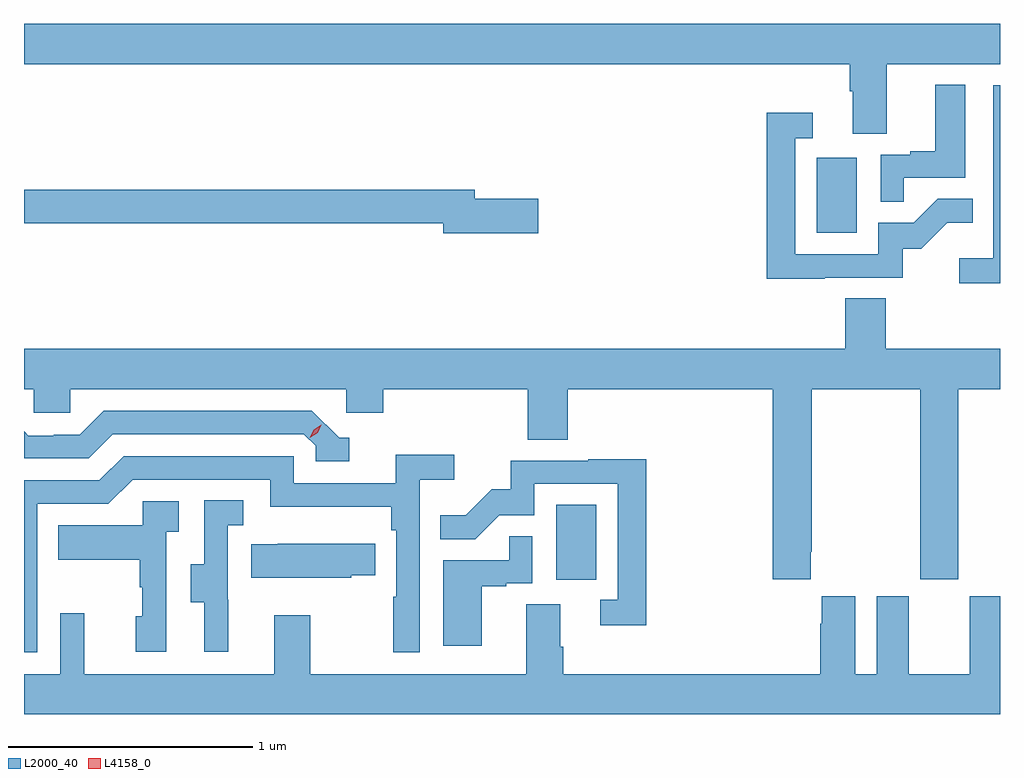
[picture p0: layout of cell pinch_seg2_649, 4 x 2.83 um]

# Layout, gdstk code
import gdstk
lib = gdstk.Library(unit=1e-6, precision=1e-09)
def R(c, l, rs):  # rectangles x0, y0, x1, y1
    for r in rs: c.add(gdstk.rectangle(r[:2], r[2:], *l))
def P(c, l, *ps):  # polygons
    for p in ps: c.add(gdstk.Polygon(p, *l))
L2000_40 = (2000, 40)
L4158_0 = (4158, 0)

pinch_seg2_649 = lib.new_cell('pinch_seg2_649')
R(pinch_seg2_649, L2000_40, [(1035.38,585.582,1035.544,585.889), (1036.448,587.004,1036.612,587.311)])
P(pinch_seg2_649, L2000_40, [(1036.735,587.696),(1037.199,587.696),(1037.199,587.86),(1033.199,587.86),(1033.199,587.696),(1036.583,587.696),(1036.583,587.584),(1036.595,587.584),(1036.595,587.41),(1036.735,587.41)],
  [(1036.805,587.229),(1037.056,587.229),(1037.056,587.611),(1036.934,587.611),(1036.934,587.338),(1036.831,587.338),(1036.831,587.325),(1036.71,587.325),(1036.71,587.131),(1036.805,587.131)],
  [(1037.199,587.608),(1037.172,587.608),(1037.172,586.9),(1037.031,586.9),(1037.031,586.798),(1037.199,586.798)],
  [(1036.481,586.821),(1036.8,586.821),(1036.8,586.938),(1036.876,586.938),(1036.983,587.045),(1037.087,587.045),(1037.087,587.144),(1036.944,587.144),(1036.846,587.046),(1036.701,587.046),(1036.701,586.917),(1036.359,586.917),(1036.359,587.391),(1036.432,587.391),(1036.432,587.497),(1036.243,587.497),(1036.243,586.816),(1036.481,586.816)],
  [(1035.307,587.144),(1035.046,587.144),(1035.046,587.18),(1033.199,587.18),(1033.199,587.044),(1034.918,587.044),(1034.918,587.002),(1035.307,587.002)],
  [(1036.423,585.697),(1036.428,585.697),(1036.428,586.364),(1036.873,586.364),(1036.873,585.585),(1037.028,585.585),(1037.028,586.364),(1037.199,586.364),(1037.199,586.528),(1036.73,586.528),(1036.73,586.736),(1036.565,586.736),(1036.565,586.528),(1033.199,586.528),(1033.199,586.364),(1033.239,586.364),(1033.239,586.266),(1033.389,586.266),(1033.389,586.364),(1034.52,586.364),(1034.52,586.266),(1034.672,586.266),(1034.672,586.364),(1035.263,586.364),(1035.263,586.156),(1035.428,586.156),(1035.428,586.364),(1036.268,586.364),(1036.268,585.585),(1036.423,585.585)],
  [(1034.533,586.164),(1034.49,586.164),(1034.379,586.275),(1033.526,586.275),(1033.427,586.176),(1033.32,586.176),(1033.32,586.173),(1033.217,586.173),(1033.199,586.191),(1033.199,586.08),(1033.464,586.08),(1033.563,586.179),(1034.346,586.179),(1034.394,586.131),(1034.394,586.068),(1034.533,586.068)],
  [(1033.254,585.894),(1033.545,585.894),(1033.644,585.993),(1034.208,585.993),(1034.208,585.881),(1034.704,585.881),(1034.704,585.785),(1034.724,585.785),(1034.724,585.512),(1034.712,585.512),(1034.712,585.285),(1034.82,585.285),(1034.82,585.992),(1034.962,585.992),(1034.962,586.094),(1034.723,586.094),(1034.723,585.978),(1034.304,585.978),(1034.304,586.089),(1033.607,586.089),(1033.508,585.99),(1033.199,585.99),(1033.199,585.285),(1033.254,585.285)],
  [(1035.749,586.076),(1035.511,586.076),(1035.511,586.071),(1035.193,586.071),(1035.193,585.954),(1035.116,585.954),(1035.009,585.847),(1034.905,585.847),(1034.905,585.748),(1035.049,585.748),(1035.147,585.846),(1035.291,585.846),(1035.291,585.975),(1035.633,585.975),(1035.633,585.501),(1035.561,585.501),(1035.561,585.396),(1035.749,585.396)],
  [(1034.036,585.501),(1034.034,585.501),(1034.034,585.805),(1034.098,585.805),(1034.098,585.908),(1033.938,585.908),(1033.938,585.645),(1033.883,585.645),(1033.883,585.49),(1033.937,585.49),(1033.937,585.288),(1034.036,585.288)],
  [(1033.782,585.779),(1033.834,585.779),(1033.834,585.903),(1033.686,585.903),(1033.686,585.805),(1033.339,585.805),(1033.339,585.665),(1033.674,585.665),(1033.674,585.551),(1033.684,585.551),(1033.684,585.432),(1033.658,585.432),(1033.658,585.288),(1033.782,585.288)],
  [(1035.076,585.555),(1035.176,585.555),(1035.176,585.567),(1035.282,585.567),(1035.282,585.761),(1035.187,585.761),(1035.187,585.663),(1034.918,585.663),(1034.918,585.312),(1035.076,585.312)],
  [(1034.541,585.601),(1034.639,585.601),(1034.639,585.73),(1034.239,585.73),(1034.239,585.727),(1034.131,585.727),(1034.131,585.59),(1034.541,585.59)],
  [(1037.199,585.514),(1037.075,585.514),(1037.075,585.196),(1036.825,585.196),(1036.825,585.514),(1036.694,585.514),(1036.694,585.196),(1036.606,585.196),(1036.606,585.514),(1036.469,585.514),(1036.469,585.401),(1036.463,585.401),(1036.463,585.196),(1035.41,585.196),(1035.41,585.308),(1035.397,585.308),(1035.397,585.482),(1035.257,585.482),(1035.257,585.196),(1034.373,585.196),(1034.373,585.436),(1034.225,585.436),(1034.225,585.196),(1033.445,585.196),(1033.445,585.445),(1033.347,585.445),(1033.347,585.196),(1033.199,585.196),(1033.199,585.032),(1037.199,585.032)])
P(pinch_seg2_649, L4158_0, [(1034.371,586.164),(1034.371,586.164),(1034.387,586.197),(1034.417,586.217),(1034.418,586.217),(1034.418,586.217),(1034.402,586.184),(1034.371,586.164)])

lib.write_gds('pinch_seg2_649.gds')
